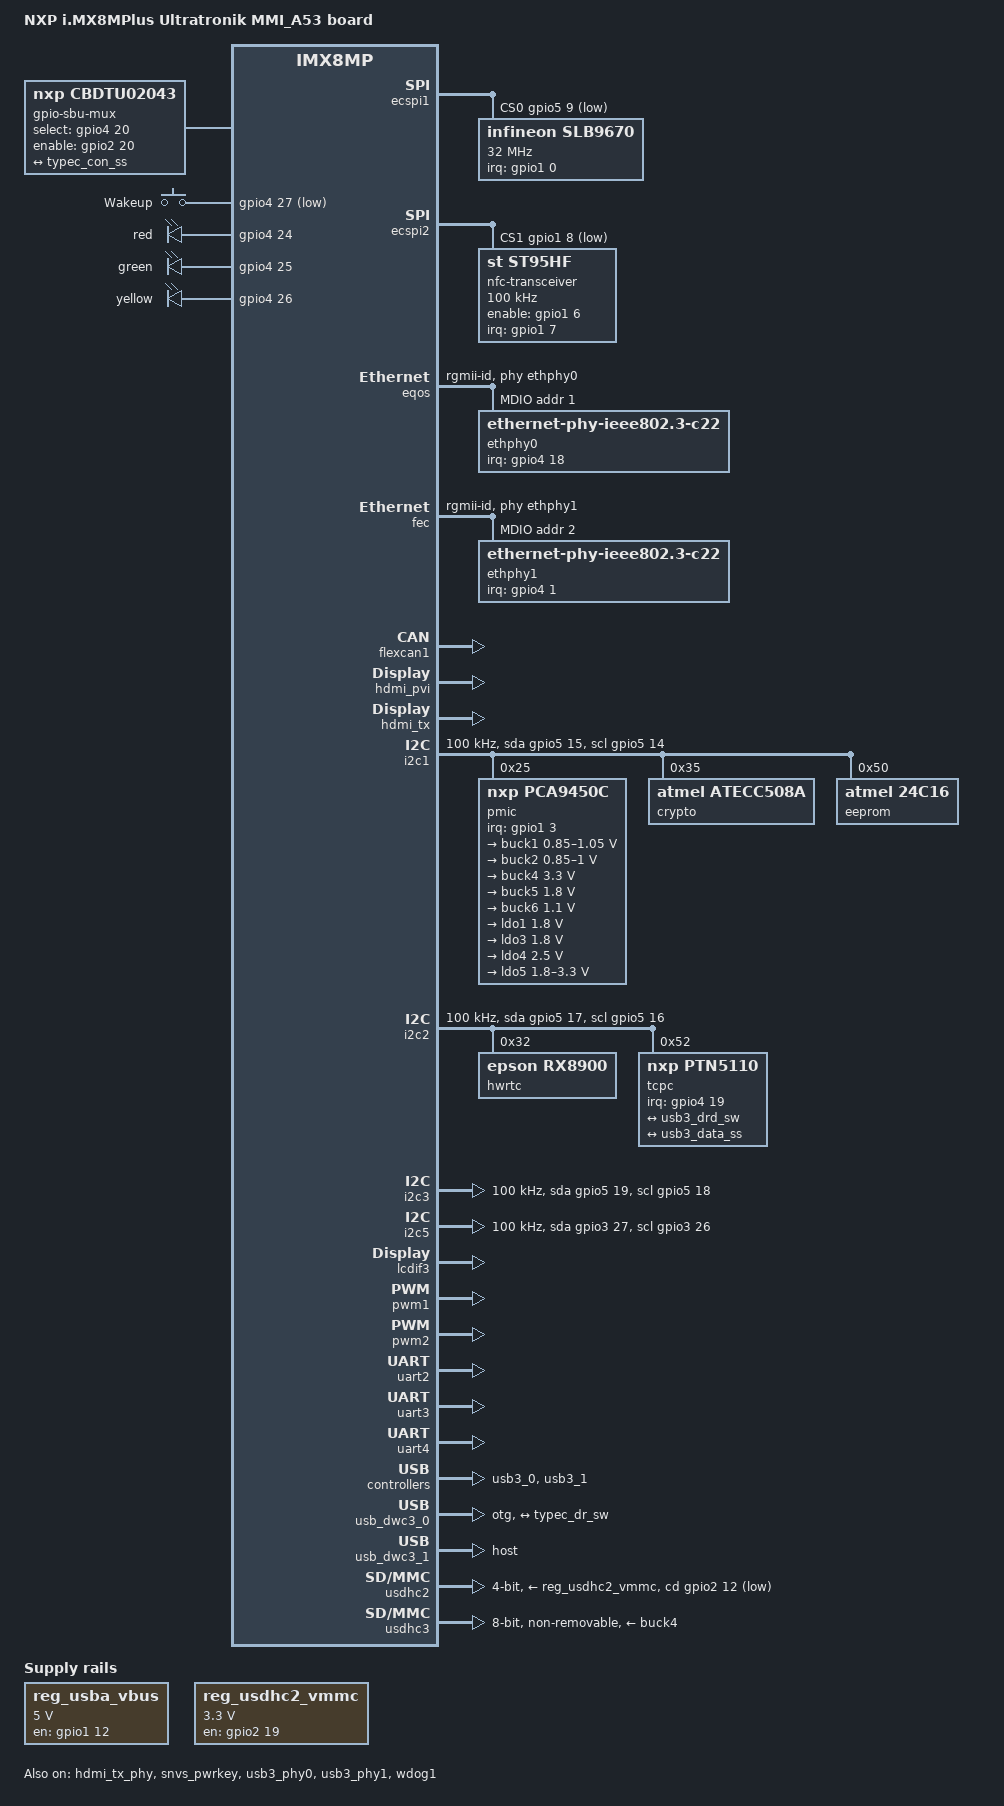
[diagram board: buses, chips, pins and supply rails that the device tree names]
// SPDX-License-Identifier: (GPL-2.0+ OR MIT)
/*
 * Copyright (C) 2025 Ultratronik
 */

/dts-v1/;

#include <dt-bindings/usb/pd.h>
#include "imx8mp.dtsi"

/ {
	model = "NXP i.MX8MPlus Ultratronik MMI_A53 board";
	compatible = "ultratronik,imx8mp-ultra-mach-sbc", "fsl,imx8mp";

	aliases {
		ethernet0 = &fec;
		ethernet1 = &eqos;
		rtc0 = &hwrtc;
		rtc1 = &snvs_rtc;
	};

	chosen {
		stdout-path = &uart2;
	};

	gpio-sbu-mux {
		compatible = "nxp,cbdtu02043", "gpio-sbu-mux";
		pinctrl-names = "default";
		pinctrl-0 = <&pinctrl_sbu_mux>;
		select-gpios = <&gpio4 20 GPIO_ACTIVE_HIGH>;
		enable-gpios = <&gpio2 20 GPIO_ACTIVE_HIGH>;
		orientation-switch;

		port {
			usb3_data_ss: endpoint {
				remote-endpoint = <&typec_con_ss>;
			};
		};
	};

	gpio-keys {
		compatible = "gpio-keys";

		button-0 {
			gpios = <&gpio4 27 GPIO_ACTIVE_LOW>; /* Wakeup */
			label = "Wakeup";
			linux,code = <KEY_WAKEUP>;
			pinctrl-0 = <&pinctrl_gpio_key_wakeup>;
			pinctrl-names = "default";
			wakeup-source;
		};
	};

	leds {
		compatible = "gpio-leds";
		pinctrl-names = "default";
		pinctrl-0 = <&pinctrl_gpio_leds>;

		led1 {
			label = "red";
			gpios = <&gpio4 24 GPIO_ACTIVE_HIGH>;
			default-state = "off";
		};

		led2 {
			label = "green";
			gpios = <&gpio4 25 GPIO_ACTIVE_HIGH>;
			default-state = "off";
		};

		led3 {
			label = "yellow";
			gpios = <&gpio4 26 GPIO_ACTIVE_HIGH>;
			default-state = "off";
		};
	};

	reg_usba_vbus: regulator-usba-vbus {
		compatible = "regulator-fixed";
		pinctrl-names = "default";
		pinctrl-0 = <&pinctrl_usb1>;
		regulator-name = "usb-A-vbus";
		regulator-min-microvolt = <5000000>;
		regulator-max-microvolt = <5000000>;
		gpio = <&gpio1 12 GPIO_ACTIVE_HIGH>;
		enable-active-high;
	};

	reg_usdhc2_vmmc: regulator-usdhc2 {
		compatible = "regulator-fixed";
		pinctrl-names = "default";
		pinctrl-0 = <&pinctrl_reg_usdhc2_vmmc>;
		regulator-name = "VSD_3V3";
		regulator-min-microvolt = <3300000>;
		regulator-max-microvolt = <3300000>;
		gpio = <&gpio2 19 GPIO_ACTIVE_HIGH>;
		enable-active-high;
	};
};

&A53_0 {
	cpu-supply = <&buck2>;
};

&A53_1 {
	cpu-supply = <&buck2>;
};

&A53_2 {
	cpu-supply = <&buck2>;
};

&A53_3 {
	cpu-supply = <&buck2>;
};

&ecspi1 {
	#address-cells = <1>;
	#size-cells = <0>;
	pinctrl-names = "default";
	pinctrl-0 = <&pinctrl_ecspi1 &pinctrl_ecspi1_cs>;
	cs-gpios = <&gpio5 9 GPIO_ACTIVE_LOW>;
	status = "okay";

	slb9670: tpm@0 {
		compatible = "infineon,slb9670", "tcg,tpm_tis-spi";
		reg = <0>;
		spi-max-frequency = <32000000>;
		pinctrl-names = "default";
		pinctrl-0 = <&pinctrl_slb9670>;
		interrupt-parent = <&gpio1>;
		interrupts = <0 IRQ_TYPE_LEVEL_LOW>;
	};
};

&ecspi2 {
	#address-cells = <1>;
	#size-cells = <0>;
	pinctrl-names = "default";
	pinctrl-0 = <&pinctrl_ecspi2 &pinctrl_ecspi2_cs>;
	cs-gpios = <&gpio5 13 GPIO_ACTIVE_LOW>,
		<&gpio1 8 GPIO_ACTIVE_LOW>,
		<&gpio1 9 GPIO_ACTIVE_LOW>;
	status = "okay";

	nfc-transceiver@1 {
		compatible = "st,st95hf";
		reg = <1>;
		pinctrl-names = "default";
		pinctrl-0 = <&pinctrl_nfc>;
		spi-max-frequency = <100000>;
		interrupt-parent = <&gpio1>;
		interrupts = <7 IRQ_TYPE_EDGE_FALLING>;
		enable-gpio = <&gpio1 6 GPIO_ACTIVE_HIGH>;
	};
};

&eqos {
	pinctrl-names = "default";
	pinctrl-0 = <&pinctrl_eqos>;
	phy-mode = "rgmii-id";
	phy-handle = <&ethphy0>;
	status = "okay";

	mdio {
		compatible = "snps,dwmac-mdio";
		#address-cells = <1>;
		#size-cells = <0>;

		ethphy0: ethernet-phy@1 {
			compatible = "ethernet-phy-ieee802.3-c22";
			reg = <0x1>;
			interrupt-parent = <&gpio4>;
			interrupts = <18 IRQ_TYPE_LEVEL_LOW>;
		};
	};
};

&fec {
	pinctrl-names = "default";
	pinctrl-0 = <&pinctrl_fec>;
	phy-mode = "rgmii-id";
	phy-handle = <&ethphy1>;
	fsl,magic-packet;
	status = "okay";

	mdio {
		#address-cells = <1>;
		#size-cells = <0>;

		ethphy1: ethernet-phy@2 {
			compatible = "ethernet-phy-ieee802.3-c22";
			reg = <0x2>;
			interrupt-parent = <&gpio4>;
			interrupts = <1 IRQ_TYPE_LEVEL_LOW>;
		};
	};
};

&flexcan1 {
	pinctrl-names = "default";
	pinctrl-0 = <&pinctrl_flexcan1>;
	status = "okay";
};

&gpio1 {
	gpio-line-names =
		"#TPM_IRQ", "GPIO1", "", "#PMIC_INT",
		"SD2_VSEL", "#TOUCH_IRQ", "#NFC_INT_I", "#NFC_INT",
		"#SPI2_CS2", "#SPI2_CS3", "#RTS4", "",
		"USB_PWR", "GPIO2", "GPIO3", "";
};

&gpio2 {
	gpio-line-names =
		"", "", "", "", "", "", "", "",
		"", "", "", "", "#SD2_CD", "", "", "",
		"", "", "", "", "#USB-C_EN", "", "", "",
		"", "", "", "", "", "", "", "";
};

&gpio3 {
	gpio-line-names =
		"", "", "", "", "", "", "", "",
		"", "", "", "", "", "", "", "",
		"", "", "", "", "", "", "DISP_POW", "GPIO4",
		"#", "", "", "", "", "", "", "";
};

&gpio4 {
	gpio-line-names =
		"BKL_POW", "#ETH1_INT", "#TPM_RES", "#PCAP_RES",
		"", "", "", "",
		"", "", "", "", "", "", "", "",
		"", "", "#ETH0_INT", "#USB-C_ALERT",
		"#USB-C_SEL", "", "", "",
		"LED_RED", "LED_GREEN", "LED_YELLOW", "#WAKEUP",
		"", "", "", "";
};

&gpio5 {
	gpio-line-names =
		"", "", "", "", "", "", "", "",
		"", "#SPI1_CS", "", "", "", "#SPI2_CS1", "", "",
		"", "", "", "", "ENA_KAM", "ENA_LED", "", "",
		"", "", "", "", "", "", "", "";
};

&hdmi_pvi {
	status = "okay";
};

&hdmi_tx {
	ddc-i2c-bus = <&i2c5>;
	pinctrl-names = "default";
	pinctrl-0 = <&pinctrl_hdmi>;
	status = "okay";
};

&hdmi_tx_phy {
	status = "okay";
};

&i2c1 {
	clock-frequency = <100000>;
	pinctrl-names = "default", "gpio";
	pinctrl-0 = <&pinctrl_i2c1>;
	pinctrl-1 = <&pinctrl_i2c1_gpio>;
	scl-gpios = <&gpio5 14 (GPIO_ACTIVE_HIGH | GPIO_OPEN_DRAIN)>;
	sda-gpios = <&gpio5 15 (GPIO_ACTIVE_HIGH | GPIO_OPEN_DRAIN)>;
	status = "okay";

	pmic@25 {
		compatible = "nxp,pca9450c";
		reg = <0x25>;
		pinctrl-0 = <&pinctrl_pmic>;
		interrupt-parent = <&gpio1>;
		interrupts = <3 GPIO_ACTIVE_LOW>;

		/*
		 * i.MX 8M Plus Data Sheet for Consumer Products
		 * 3.1.4 Operating ranges
		 * MIMX8ML8DVNLZAB
		 */
		regulators {
			buck1: BUCK1 {	/* VDD_SOC (dual-phase with BUCK3) */
				regulator-min-microvolt = <850000>;
				regulator-max-microvolt = <1050000>;
				regulator-always-on;
				regulator-boot-on;
				regulator-ramp-delay = <3125>;
			};

			buck2: BUCK2 {	/* VDD_ARM */
				regulator-min-microvolt = <850000>;
				regulator-max-microvolt = <1000000>;
				regulator-always-on;
				regulator-boot-on;
				regulator-ramp-delay = <3125>;
				nxp,dvs-run-voltage = <950000>;
				nxp,dvs-standby-voltage = <850000>;
			};

			buck4: BUCK4 {	/* +3V3 */
				regulator-min-microvolt = <3300000>;
				regulator-max-microvolt = <3300000>;
				regulator-always-on;
				regulator-boot-on;
			};

			buck5: BUCK5 {	/* +1V8 */
				regulator-min-microvolt = <1800000>;
				regulator-max-microvolt = <1800000>;
				regulator-always-on;
				regulator-boot-on;
			};

			buck6: BUCK6 {	/* DRAM_1V1 */
				regulator-min-microvolt = <1100000>;
				regulator-max-microvolt = <1100000>;
				regulator-always-on;
				regulator-boot-on;
			};

			ldo1: LDO1 {	/* NVCC_SNVS_1V8 */
				regulator-min-microvolt = <1800000>;
				regulator-max-microvolt = <1800000>;
				regulator-always-on;
				regulator-boot-on;
			};

			ldo3: LDO3 {	/* VDDA_1P8 */
				regulator-min-microvolt = <1800000>;
				regulator-max-microvolt = <1800000>;
				regulator-always-on;
				regulator-boot-on;
			};

			ldo4: LDO4 {	/* ENET_2V5 */
				regulator-min-microvolt = <2500000>;
				regulator-max-microvolt = <2500000>;
				regulator-always-on;
				regulator-boot-on;
			};

			ldo5: LDO5 {	/* NVCC_SD2 */
				regulator-min-microvolt = <1800000>;
				regulator-max-microvolt = <3300000>;
				regulator-always-on;
				regulator-boot-on;
			};
		};
	};

	crypto@35 {
		compatible = "atmel,atecc508a";
		reg = <0x35>;
	};

	eeprom@50 {
		compatible = "atmel,24c16";
		reg = <0x50>;
		pagesize = <16>;
	};
};

&i2c2 {
	clock-frequency = <100000>;
	pinctrl-names = "default", "gpio";
	pinctrl-0 = <&pinctrl_i2c2>;
	pinctrl-1 = <&pinctrl_i2c2_gpio>;
	scl-gpios = <&gpio5 16 (GPIO_ACTIVE_HIGH | GPIO_OPEN_DRAIN)>;
	sda-gpios = <&gpio5 17 (GPIO_ACTIVE_HIGH | GPIO_OPEN_DRAIN)>;
	status = "okay";

	hwrtc: rtc@32 {
		compatible = "epson,rx8900";
		reg = <0x32>;
		epson,vdet-disable;
		trickle-diode-disable;
	};

	tcpc@52 {
		compatible = "nxp,ptn5110", "tcpci";
		reg = <0x52>;
		pinctrl-names = "default";
		pinctrl-0 = <&pinctrl_ptn5110>;
		interrupt-parent = <&gpio4>;
		interrupts = <19 IRQ_TYPE_LEVEL_LOW>;

		usb_con: connector {
			compatible = "usb-c-connector";
			label = "USB-C";
			power-role = "dual";
			data-role = "dual";
			try-power-role = "sink";
			source-pdos = <PDO_FIXED(5000, 3000, PDO_FIXED_USB_COMM)>;
			sink-pdos = <PDO_FIXED(5000, 3000, PDO_FIXED_USB_COMM)
				     PDO_VAR(5000, 5000, 3000)>;
			op-sink-microwatt = <15000000>;
			self-powered;

			ports {
				#address-cells = <1>;
				#size-cells = <0>;

				port@0 {
					reg = <0>;

					typec_dr_sw: endpoint {
						remote-endpoint = <&usb3_drd_sw>;
					};
				};

				port@1 {
					reg = <1>;

					typec_con_ss: endpoint {
						remote-endpoint = <&usb3_data_ss>;
					};
				};
			};
		};
	};
};

&i2c3 {
	clock-frequency = <100000>;
	pinctrl-names = "default", "gpio";
	pinctrl-0 = <&pinctrl_i2c3>;
	pinctrl-1 = <&pinctrl_i2c3_gpio>;
	scl-gpios = <&gpio5 18 (GPIO_ACTIVE_HIGH | GPIO_OPEN_DRAIN)>;
	sda-gpios = <&gpio5 19 (GPIO_ACTIVE_HIGH | GPIO_OPEN_DRAIN)>;
	status = "okay";
};

&i2c5 {	/* HDMI EDID bus */
	clock-frequency = <100000>;
	pinctrl-names = "default", "gpio";
	pinctrl-0 = <&pinctrl_i2c5>;
	pinctrl-1 = <&pinctrl_i2c5_gpio>;
	scl-gpios = <&gpio3 26 (GPIO_ACTIVE_HIGH | GPIO_OPEN_DRAIN)>;
	sda-gpios = <&gpio3 27 (GPIO_ACTIVE_HIGH | GPIO_OPEN_DRAIN)>;
	status = "okay";
};

&lcdif3 {
	status = "okay";
};

&pwm1 {
	pinctrl-names = "default";
	pinctrl-0 = <&pinctrl_pwm1>;
	status = "okay";
};

&pwm2 {
	pinctrl-names = "default";
	pinctrl-0 = <&pinctrl_pwm2>;
	status = "okay";
};

&snvs_pwrkey {
	status = "okay";
};

&uart2 {
	/* system console */
	pinctrl-names = "default";
	pinctrl-0 = <&pinctrl_uart2>;
	status = "okay";
};

&uart3 {
	pinctrl-names = "default";
	pinctrl-0 = <&pinctrl_uart3>;
	status = "okay";
};

&uart4 {
	/* expansion port serial connection */
	pinctrl-names = "default";
	pinctrl-0 = <&pinctrl_uart4>;
	status = "okay";
};

&usb3_phy0 {
	status = "okay";
};

&usb3_0 {
	status = "okay";
};

&usb_dwc3_0 {
	dr_mode = "otg";
	hnp-disable;
	srp-disable;
	adp-disable;
	usb-role-switch;
	status = "okay";

	port {
		usb3_drd_sw: endpoint {
			remote-endpoint = <&typec_dr_sw>;
		};
	};
};

&usb3_phy1 {
	vbus-supply = <&reg_usba_vbus>;
	status = "okay";
};

&usb3_1 {
	status = "okay";
};

&usb_dwc3_1 {
	dr_mode = "host";
	snps,hsphy_interface = "utmi";
	status = "okay";
};

&usdhc2 {
	assigned-clocks = <&clk IMX8MP_CLK_USDHC2>;
	assigned-clock-rates = <400000000>;
	pinctrl-names = "default", "state_100mhz", "state_200mhz";
	pinctrl-0 = <&pinctrl_usdhc2>, <&pinctrl_usdhc2_gpio>;
	pinctrl-1 = <&pinctrl_usdhc2_100mhz>, <&pinctrl_usdhc2_gpio>;
	pinctrl-2 = <&pinctrl_usdhc2_200mhz>, <&pinctrl_usdhc2_gpio>;
	cd-gpios = <&gpio2 12 GPIO_ACTIVE_LOW>;
	bus-width = <4>;
	vmmc-supply = <&reg_usdhc2_vmmc>;
	vqmmc-supply = <&ldo5>;
	status = "okay";
};

&usdhc3 {
	assigned-clocks = <&clk IMX8MP_CLK_USDHC3>;
	assigned-clock-rates = <400000000>;
	pinctrl-names = "default", "state_100mhz", "state_200mhz";
	pinctrl-0 = <&pinctrl_usdhc3>;
	pinctrl-1 = <&pinctrl_usdhc3_100mhz>;
	pinctrl-2 = <&pinctrl_usdhc3_200mhz>;
	vmmc-supply = <&buck4>;
	vqmmc-supply = <&buck5>;
	bus-width = <8>;
	no-sd;
	no-sdio;
	non-removable;
	status = "okay";
};

&wdog1 {
	pinctrl-names = "default";
	pinctrl-0 = <&pinctrl_wdog>;
	fsl,ext-reset-output;
	status = "okay";
};

&iomuxc {
	pinctrl-names = "default";
	pinctrl-0 = <&pinctrl_hog>;

	pinctrl_ecspi1_cs: ecspi1-cs-grp {
		fsl,pins = <
			MX8MP_IOMUXC_ECSPI1_SS0__GPIO5_IO09		0x40	/* #SPI1_CS */
		>;
	};

	pinctrl_ecspi1: ecspi1-grp {
		fsl,pins = <
			MX8MP_IOMUXC_ECSPI1_SCLK__ECSPI1_SCLK		0x82
			MX8MP_IOMUXC_ECSPI1_MOSI__ECSPI1_MOSI		0x82
			MX8MP_IOMUXC_ECSPI1_MISO__ECSPI1_MISO		0x82
		>;
	};

	pinctrl_ecspi2_cs: ecspi2-cs-grp {
		fsl,pins = <
			MX8MP_IOMUXC_ECSPI2_SS0__GPIO5_IO13		0x40	/* #SPI2_CS */
			MX8MP_IOMUXC_GPIO1_IO08__GPIO1_IO08		0x40	/* #SPI2_CS2 */
			MX8MP_IOMUXC_GPIO1_IO09__GPIO1_IO09		0x40	/* #SPI2_CS3 */
		>;
	};

	pinctrl_ecspi2: ecspi2-grp {
		fsl,pins = <
			MX8MP_IOMUXC_ECSPI2_SCLK__ECSPI2_SCLK		0x82
			MX8MP_IOMUXC_ECSPI2_MOSI__ECSPI2_MOSI		0x82
			MX8MP_IOMUXC_ECSPI2_MISO__ECSPI2_MISO		0x82
		>;
	};

	pinctrl_eqos: eqos-grp {
		fsl,pins = <
			MX8MP_IOMUXC_ENET_MDC__ENET_QOS_MDC		0x0
			MX8MP_IOMUXC_ENET_MDIO__ENET_QOS_MDIO		0x0
			MX8MP_IOMUXC_ENET_RD0__ENET_QOS_RGMII_RD0	0x90
			MX8MP_IOMUXC_ENET_RD1__ENET_QOS_RGMII_RD1	0x90
			MX8MP_IOMUXC_ENET_RD2__ENET_QOS_RGMII_RD2	0x90
			MX8MP_IOMUXC_ENET_RD3__ENET_QOS_RGMII_RD3	0x90
			MX8MP_IOMUXC_ENET_RXC__CCM_ENET_QOS_CLOCK_GENERATE_RX_CLK	0x90
			MX8MP_IOMUXC_ENET_RX_CTL__ENET_QOS_RGMII_RX_CTL	0x90
			MX8MP_IOMUXC_ENET_TD0__ENET_QOS_RGMII_TD0	0x16
			MX8MP_IOMUXC_ENET_TD1__ENET_QOS_RGMII_TD1	0x16
			MX8MP_IOMUXC_ENET_TD2__ENET_QOS_RGMII_TD2	0x16
			MX8MP_IOMUXC_ENET_TD3__ENET_QOS_RGMII_TD3	0x16
			MX8MP_IOMUXC_ENET_TX_CTL__ENET_QOS_RGMII_TX_CTL	0x16
			MX8MP_IOMUXC_ENET_TXC__CCM_ENET_QOS_CLOCK_GENERATE_TX_CLK	0x16
			MX8MP_IOMUXC_SAI1_TXD6__GPIO4_IO18		0x10	/* #ETH0_INT */
		>;
	};

	pinctrl_fec: fec-grp {
		fsl,pins = <
			MX8MP_IOMUXC_SAI1_RXD2__ENET1_MDC               0x0
			MX8MP_IOMUXC_SAI1_RXD3__ENET1_MDIO              0x0
			MX8MP_IOMUXC_SAI1_RXD4__ENET1_RGMII_RD0         0x90
			MX8MP_IOMUXC_SAI1_RXD5__ENET1_RGMII_RD1         0x90
			MX8MP_IOMUXC_SAI1_RXD6__ENET1_RGMII_RD2         0x90
			MX8MP_IOMUXC_SAI1_RXD7__ENET1_RGMII_RD3         0x90
			MX8MP_IOMUXC_SAI1_TXC__ENET1_RGMII_RXC          0x90
			MX8MP_IOMUXC_SAI1_TXFS__ENET1_RGMII_RX_CTL      0x90
			MX8MP_IOMUXC_SAI1_TXD0__ENET1_RGMII_TD0         0x16
			MX8MP_IOMUXC_SAI1_TXD1__ENET1_RGMII_TD1         0x16
			MX8MP_IOMUXC_SAI1_TXD2__ENET1_RGMII_TD2         0x16
			MX8MP_IOMUXC_SAI1_TXD3__ENET1_RGMII_TD3         0x16
			MX8MP_IOMUXC_SAI1_TXD4__ENET1_RGMII_TX_CTL      0x16
			MX8MP_IOMUXC_SAI1_TXD5__ENET1_RGMII_TXC         0x16
			MX8MP_IOMUXC_SAI1_RXC__GPIO4_IO01               0x10	/* #ETH1_INT */
		>;
	};

	pinctrl_flexcan1: flexcan1-grp {
		fsl,pins = <
			MX8MP_IOMUXC_SPDIF_RX__CAN1_RX			0x154
			MX8MP_IOMUXC_SPDIF_TX__CAN1_TX			0x154
		>;
	};

	pinctrl_gpio_key_wakeup: gpio-key-wakeup-grp {
		fsl,pins = <
			MX8MP_IOMUXC_SAI2_MCLK__GPIO4_IO27		0x40	/* #WAKEUP */
		>;
	};

	pinctrl_gpio_leds: gpio-leds-grp {
		fsl,pins = <
			MX8MP_IOMUXC_SAI2_TXFS__GPIO4_IO24		0x40	/* LED_RED */
			MX8MP_IOMUXC_SAI2_TXC__GPIO4_IO25		0x40	/* LED_GREEN */
			MX8MP_IOMUXC_SAI2_TXD0__GPIO4_IO26		0x40	/* LED_YELLOW */
		>;
	};

	pinctrl_hdmi: hdmi-grp {
		fsl,pins = <
			MX8MP_IOMUXC_HDMI_CEC__HDMIMIX_HDMI_CEC		0x154
			MX8MP_IOMUXC_HDMI_HPD__HDMIMIX_HDMI_HPD		0x154
		>;
	};

	pinctrl_hog: hog-grp {
		fsl,pins = <
			MX8MP_IOMUXC_GPIO1_IO01__GPIO1_IO01	0x40	/* GPIO1 */
			MX8MP_IOMUXC_GPIO1_IO13__GPIO1_IO13	0x40	/* GPIO2 */
			MX8MP_IOMUXC_GPIO1_IO14__GPIO1_IO14	0x40	/* GPIO3 */
			MX8MP_IOMUXC_SAI5_RXD2__GPIO3_IO23	0x40	/* GPIO4 */
			MX8MP_IOMUXC_I2C4_SCL__GPIO5_IO20	0x40	/* ENA_KAM */
			MX8MP_IOMUXC_I2C4_SDA__GPIO5_IO21	0x40	/* ENA_LED */
			MX8MP_IOMUXC_SAI1_RXD1__GPIO4_IO03	0x40	/* #PCAP_RES */
			MX8MP_IOMUXC_GPIO1_IO10__GPIO1_IO10	0x40	/* #RTS4 */
		>;
	};

	pinctrl_i2c1: i2c1-grp {
		fsl,pins = <
			MX8MP_IOMUXC_I2C1_SCL__I2C1_SCL			0x400001c0
			MX8MP_IOMUXC_I2C1_SDA__I2C1_SDA			0x400001c0
		>;
	};

	pinctrl_i2c1_gpio: i2c1-gpio-grp {
		fsl,pins = <
			MX8MP_IOMUXC_I2C1_SCL__GPIO5_IO14		0xc0
			MX8MP_IOMUXC_I2C1_SDA__GPIO5_IO15		0xc0
		>;
	};

	pinctrl_i2c2: i2c2-grp {
		fsl,pins = <
			MX8MP_IOMUXC_I2C2_SCL__I2C2_SCL			0x400001c0
			MX8MP_IOMUXC_I2C2_SDA__I2C2_SDA			0x400001c0
		>;
	};

	pinctrl_i2c2_gpio: i2c2-gpio-grp {
		fsl,pins = <
			MX8MP_IOMUXC_I2C2_SCL__GPIO5_IO16		0xc0
			MX8MP_IOMUXC_I2C2_SDA__GPIO5_IO17		0xc0
		>;
	};

	pinctrl_i2c3: i2c3-grp {
		fsl,pins = <
			MX8MP_IOMUXC_I2C3_SCL__I2C3_SCL			0x400001c2
			MX8MP_IOMUXC_I2C3_SDA__I2C3_SDA			0x400001c2
		>;
	};

	pinctrl_i2c3_gpio: i2c3-gpio-grp {
		fsl,pins = <
			MX8MP_IOMUXC_I2C3_SCL__GPIO5_IO18		0xc2
			MX8MP_IOMUXC_I2C3_SDA__GPIO5_IO19		0xc2
		>;
	};

	pinctrl_i2c5: i2c5-grp {
		fsl,pins = <
			MX8MP_IOMUXC_HDMI_DDC_SCL__I2C5_SCL		0x400000c4
			MX8MP_IOMUXC_HDMI_DDC_SDA__I2C5_SDA		0x400000c4
		>;
	};

	pinctrl_i2c5_gpio: i2c5-gpio-grp {
		fsl,pins = <
			MX8MP_IOMUXC_HDMI_DDC_SCL__GPIO3_IO26		0xc4
			MX8MP_IOMUXC_HDMI_DDC_SDA__GPIO3_IO27		0xc4
		>;
	};

	pinctrl_nfc: nfc-grp {
		fsl,pins = <
			MX8MP_IOMUXC_GPIO1_IO06__GPIO1_IO06		0x40	/* NFC_INT_I */
			MX8MP_IOMUXC_GPIO1_IO07__GPIO1_IO07		0x40	/* NFC_INT */
		>;
	};

	pinctrl_pmic: pmic-grp {
		fsl,pins = <
			MX8MP_IOMUXC_GPIO1_IO03__GPIO1_IO03		0x40	/* #PMIC_INT */
		>;
	};

	pinctrl_ptn5110: ptn5110-grp {
		fsl,pins = <
			MX8MP_IOMUXC_SAI1_TXD7__GPIO4_IO19		0x1c4	/* #USB-C_ALERT */
		>;
	};

	pinctrl_pwm1: pwm1-grp {
		fsl,pins = <
			MX8MP_IOMUXC_SPDIF_EXT_CLK__PWM1_OUT		0x116
		>;
	};

	pinctrl_pwm2: pwm2-grp {
		fsl,pins = <
			MX8MP_IOMUXC_SAI5_RXD0__PWM2_OUT		0x116	/* EXT_PWM */
		>;
	};

	pinctrl_reg_usdhc2_vmmc: reg-usdhc2-vmmc-grp {
		fsl,pins = <
			MX8MP_IOMUXC_SD2_RESET_B__GPIO2_IO19	0x40
		>;
	};

	pinctrl_sbu_mux: sbu-mux-grp {
		fsl,pins = <
			MX8MP_IOMUXC_SAI1_MCLK__GPIO4_IO20		0x16	/* #USB-C_SEL */
			MX8MP_IOMUXC_SD2_WP__GPIO2_IO20			0x16	/* #USB-C_EN */
		>;
	};

	pinctrl_slb9670: slb9670-grp {
		fsl,pins = <
			MX8MP_IOMUXC_GPIO1_IO00__GPIO1_IO00		0x40	/* #TPM_IRQ */
			MX8MP_IOMUXC_SAI1_RXD0__GPIO4_IO02		0x40	/* #TPM_RES */
		>;
	};

	pinctrl_uart2: uart2-grp {
		fsl,pins = <
			MX8MP_IOMUXC_UART2_RXD__UART2_DCE_RX		0x40
			MX8MP_IOMUXC_UART2_TXD__UART2_DCE_TX		0x40
		>;
	};

	pinctrl_uart3: uart3-grp {
		fsl,pins = <
			MX8MP_IOMUXC_UART3_RXD__UART3_DCE_RX		0x40
			MX8MP_IOMUXC_UART3_TXD__UART3_DCE_TX		0x40
		>;
	};

	pinctrl_uart4: uart4-grp {
		fsl,pins = <
			MX8MP_IOMUXC_UART4_RXD__UART4_DCE_RX		0x40
			MX8MP_IOMUXC_UART4_TXD__UART4_DCE_TX		0x40
		>;
	};

	pinctrl_usb1: usb1-grp {
		fsl,pins = <
			MX8MP_IOMUXC_GPIO1_IO12__GPIO1_IO12		0x40	/* USB_PWR */
		>;
	};

	pinctrl_usdhc2: usdhc2-grp {
		fsl,pins = <
			MX8MP_IOMUXC_SD2_CLK__USDHC2_CLK		0x190
			MX8MP_IOMUXC_SD2_CMD__USDHC2_CMD		0x1d0
			MX8MP_IOMUXC_SD2_DATA0__USDHC2_DATA0		0x1d0
			MX8MP_IOMUXC_SD2_DATA1__USDHC2_DATA1		0x1d0
			MX8MP_IOMUXC_SD2_DATA2__USDHC2_DATA2		0x1d0
			MX8MP_IOMUXC_SD2_DATA3__USDHC2_DATA3		0x1d0
			MX8MP_IOMUXC_GPIO1_IO04__USDHC2_VSELECT		0xc0	/* SD2_VSEL */
		>;
	};

	pinctrl_usdhc2_100mhz: usdhc2-100mhz-grp {
		fsl,pins = <
			MX8MP_IOMUXC_SD2_CLK__USDHC2_CLK		0x194
			MX8MP_IOMUXC_SD2_CMD__USDHC2_CMD		0x1d4
			MX8MP_IOMUXC_SD2_DATA0__USDHC2_DATA0		0x1d4
			MX8MP_IOMUXC_SD2_DATA1__USDHC2_DATA1		0x1d4
			MX8MP_IOMUXC_SD2_DATA2__USDHC2_DATA2		0x1d4
			MX8MP_IOMUXC_SD2_DATA3__USDHC2_DATA3		0x1d4
			MX8MP_IOMUXC_GPIO1_IO04__USDHC2_VSELECT		0xc0	/* SD2_VSEL */
		>;
	};

	pinctrl_usdhc2_200mhz: usdhc2-200mhz-grp {
		fsl,pins = <
			MX8MP_IOMUXC_SD2_CLK__USDHC2_CLK		0x196
			MX8MP_IOMUXC_SD2_CMD__USDHC2_CMD		0x1d6
			MX8MP_IOMUXC_SD2_DATA0__USDHC2_DATA0		0x1d6
			MX8MP_IOMUXC_SD2_DATA1__USDHC2_DATA1		0x1d6
			MX8MP_IOMUXC_SD2_DATA2__USDHC2_DATA2		0x1d6
			MX8MP_IOMUXC_SD2_DATA3__USDHC2_DATA3		0x1d6
			MX8MP_IOMUXC_GPIO1_IO04__USDHC2_VSELECT		0xc0	/* SD2_VSEL */
		>;
	};

	pinctrl_usdhc2_gpio: usdhc2-gpio-grp {
		fsl,pins = <
			MX8MP_IOMUXC_SD2_CD_B__GPIO2_IO12		0x1c4
		>;
	};

	pinctrl_usdhc3: usdhc3-grp {
		fsl,pins = <
			MX8MP_IOMUXC_NAND_WE_B__USDHC3_CLK		0x190
			MX8MP_IOMUXC_NAND_WP_B__USDHC3_CMD		0x1d0
			MX8MP_IOMUXC_NAND_DATA04__USDHC3_DATA0		0x1d0
			MX8MP_IOMUXC_NAND_DATA05__USDHC3_DATA1		0x1d0
			MX8MP_IOMUXC_NAND_DATA06__USDHC3_DATA2		0x1d0
			MX8MP_IOMUXC_NAND_DATA07__USDHC3_DATA3		0x1d0
			MX8MP_IOMUXC_NAND_RE_B__USDHC3_DATA4		0x1d0
			MX8MP_IOMUXC_NAND_CE2_B__USDHC3_DATA5		0x1d0
			MX8MP_IOMUXC_NAND_CE3_B__USDHC3_DATA6		0x1d0
			MX8MP_IOMUXC_NAND_CLE__USDHC3_DATA7		0x1d0
			MX8MP_IOMUXC_NAND_CE1_B__USDHC3_STROBE		0x190
			MX8MP_IOMUXC_NAND_READY_B__USDHC3_RESET_B	0x40	/* #SD3_RESET */
		>;
	};

	pinctrl_usdhc3_100mhz: usdhc3-100mhz-grp {
		fsl,pins = <
			MX8MP_IOMUXC_NAND_WE_B__USDHC3_CLK		0x194
			MX8MP_IOMUXC_NAND_WP_B__USDHC3_CMD		0x1d4
			MX8MP_IOMUXC_NAND_DATA04__USDHC3_DATA0		0x1d4
			MX8MP_IOMUXC_NAND_DATA05__USDHC3_DATA1		0x1d4
			MX8MP_IOMUXC_NAND_DATA06__USDHC3_DATA2		0x1d4
			MX8MP_IOMUXC_NAND_DATA07__USDHC3_DATA3		0x1d4
			MX8MP_IOMUXC_NAND_RE_B__USDHC3_DATA4		0x1d4
			MX8MP_IOMUXC_NAND_CE2_B__USDHC3_DATA5		0x1d4
			MX8MP_IOMUXC_NAND_CE3_B__USDHC3_DATA6		0x1d4
			MX8MP_IOMUXC_NAND_CLE__USDHC3_DATA7		0x1d4
			MX8MP_IOMUXC_NAND_CE1_B__USDHC3_STROBE		0x194
		>;
	};

	pinctrl_usdhc3_200mhz: usdhc3-200mhz-grp {
		fsl,pins = <
			MX8MP_IOMUXC_NAND_WE_B__USDHC3_CLK		0x192
			MX8MP_IOMUXC_NAND_WP_B__USDHC3_CMD		0x1d2
			MX8MP_IOMUXC_NAND_DATA04__USDHC3_DATA0		0x1d2
			MX8MP_IOMUXC_NAND_DATA05__USDHC3_DATA1		0x1d2
			MX8MP_IOMUXC_NAND_DATA06__USDHC3_DATA2		0x1d2
			MX8MP_IOMUXC_NAND_DATA07__USDHC3_DATA3		0x1d2
			MX8MP_IOMUXC_NAND_RE_B__USDHC3_DATA4		0x1d2
			MX8MP_IOMUXC_NAND_CE2_B__USDHC3_DATA5		0x1d2
			MX8MP_IOMUXC_NAND_CE3_B__USDHC3_DATA6		0x1d2
			MX8MP_IOMUXC_NAND_CLE__USDHC3_DATA7		0x1d2
			MX8MP_IOMUXC_NAND_CE1_B__USDHC3_STROBE		0x192
		>;
	};

	pinctrl_wdog: wdog-grp {
		fsl,pins = <
			MX8MP_IOMUXC_GPIO1_IO02__WDOG1_WDOG_B		0xc6	/* #WDOG */
		>;
	};
};
